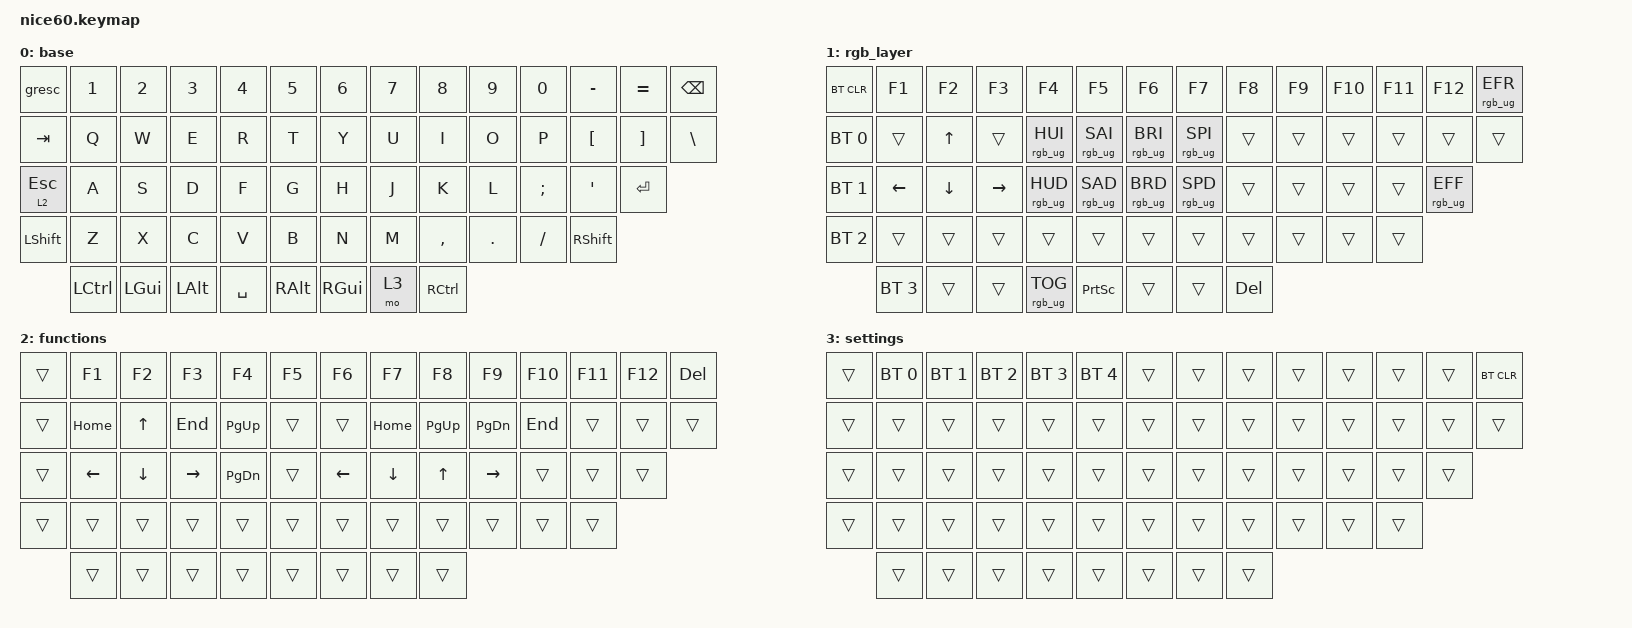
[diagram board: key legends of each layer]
/*
 * Copyright (c) 2021 Nick Winans
 *
 * SPDX-License-Identifier: MIT
 */

#include <behaviors.dtsi>
#include <dt-bindings/zmk/keys.h>
#include <dt-bindings/zmk/bt.h>
#include <dt-bindings/zmk/rgb.h>

/ {
    keymap {
        compatible = "zmk,keymap";

        base {
            // ------------------------------------------------------------------------------------------
            // | ESC |  1  |  2  |  3  |  4  |  5  |  6  |  7  |  8  |  9  |  0  |  -  |  =  |   BKSP   |
            // | TAB  |  Q  |  W  |  E  |  R  |  T  |  Y  |  U  |  I  |  O  |  P  |  [  |  ]  |   "|"   |
            // | CAPS  |  A  |  S  |  D  |  F  |  G  |  H  |  J  |  K  |  L  |  ;  |  '  |     ENTER    |
            // |  SHIFT  |  Z  |  X  |  C  |  V  |  B  |  N  |  M  |  ,  |  .  |  /  |      SHIFT       |
            // |  CTL  |  WIN  |  ALT  |            SPACE              |  ALT  |  WIN  |  MO(1) |  CTL  |
            // ------------------------------------------------------------------------------------------

            bindings = <
    &gresc     &kp N1    &kp N2    &kp N3     &kp N4    &kp N5    &kp N6  &kp N7     &kp N8   &kp N9    &kp N0  &kp MINUS  &kp EQUAL  &kp BSPC
   &kp TAB      &kp Q     &kp W     &kp E      &kp R     &kp T     &kp Y   &kp U      &kp I    &kp O     &kp P   &kp LBKT   &kp RBKT  &kp BSLH
 &lt 2 ESC      &kp A     &kp S     &kp D      &kp F     &kp G     &kp H   &kp J      &kp K    &kp L  &kp SEMI    &kp SQT    &kp RET
 &kp LSHFT      &kp Z     &kp X     &kp C      &kp V     &kp B     &kp N   &kp M  &kp COMMA  &kp DOT  &kp FSLH  &kp RSHFT
            &kp LCTRL  &kp LGUI  &kp LALT  &kp SPACE  &kp RALT  &kp RGUI   &mo 3  &kp RCTRL
            >;
        };

        rgb_layer {
            // ------------------------------------------------------------------------------------------------
            // | BT CLR | F1  | F2  | F3  | F4  | F5  | F6  | F7  | F8  | F9  | F10  | F11 | F12 | EFFECT REV |
            // |  BT 1   |   |  UP |   | HUEUP | SATUP | BRIUP | SPDUP |   |     |    |     |     |           |
            // |   BT 2   | LT |  DN  | RT | HUEDN | SATDN | BRIDN | SPDDN |   |     |   |     |  EFFECT FORW |
            // |    BT 3     |     |      |      |     |     |     |     |     |     |     |                  |
            // |   BT 4  |      |      |             TOG RGB                | PRT SCR |       |       |  DEL  |
            // ------------------------------------------------------------------------------------------------

            bindings = <
   &bt BT_CLR        &kp F1    &kp F2     &kp F3           &kp F4           &kp F5           &kp F6           &kp F7   &kp F8  &kp F9  &kp F10  &kp F11          &kp F12  &rgb_ug RGB_EFR
 &bt BT_SEL 0        &trans    &kp UP     &trans  &rgb_ug RGB_HUI  &rgb_ug RGB_SAI  &rgb_ug RGB_BRI  &rgb_ug RGB_SPI   &trans  &trans   &trans   &trans           &trans           &trans
 &bt BT_SEL 1      &kp LEFT  &kp DOWN  &kp RIGHT  &rgb_ug RGB_HUD  &rgb_ug RGB_SAD  &rgb_ug RGB_BRD  &rgb_ug RGB_SPD   &trans  &trans   &trans   &trans  &rgb_ug RGB_EFF
 &bt BT_SEL 2        &trans    &trans     &trans           &trans           &trans           &trans           &trans   &trans  &trans   &trans   &trans
               &bt BT_SEL 3    &trans     &trans  &rgb_ug RGB_TOG        &kp PSCRN           &trans           &trans  &kp DEL
            >;
        };

        functions {
            bindings = <
 &trans          &kp F1          &kp F2           &kp F3         &kp F4  &kp F5          &kp F6          &kp F7        &kp F8           &kp F9  &kp F10  &kp F11  &kp F12  &kp DELETE
 &trans        &kp HOME    &kp UP_ARROW          &kp END    &kp PAGE_UP  &trans          &trans        &kp HOME   &kp PAGE_UP    &kp PAGE_DOWN  &kp END   &trans   &trans      &trans
 &trans  &kp LEFT_ARROW  &kp DOWN_ARROW  &kp RIGHT_ARROW  &kp PAGE_DOWN  &trans  &kp LEFT_ARROW  &kp DOWN_ARROW  &kp UP_ARROW  &kp RIGHT_ARROW   &trans   &trans   &trans
 &trans          &trans          &trans           &trans         &trans  &trans          &trans          &trans        &trans           &trans   &trans   &trans
                 &trans          &trans           &trans         &trans  &trans          &trans          &trans        &trans
            >;
        };

        settings {
            bindings = <
 &trans  &bt BT_SEL 0  &bt BT_SEL 1  &bt BT_SEL 2  &bt BT_SEL 3  &bt BT_SEL 4  &trans  &trans  &trans  &trans  &trans  &trans  &trans  &bt BT_CLR
 &trans        &trans        &trans        &trans        &trans        &trans  &trans  &trans  &trans  &trans  &trans  &trans  &trans      &trans
 &trans        &trans        &trans        &trans        &trans        &trans  &trans  &trans  &trans  &trans  &trans  &trans  &trans
 &trans        &trans        &trans        &trans        &trans        &trans  &trans  &trans  &trans  &trans  &trans  &trans
               &trans        &trans        &trans        &trans        &trans  &trans  &trans  &trans
            >;
        };
    };
};
